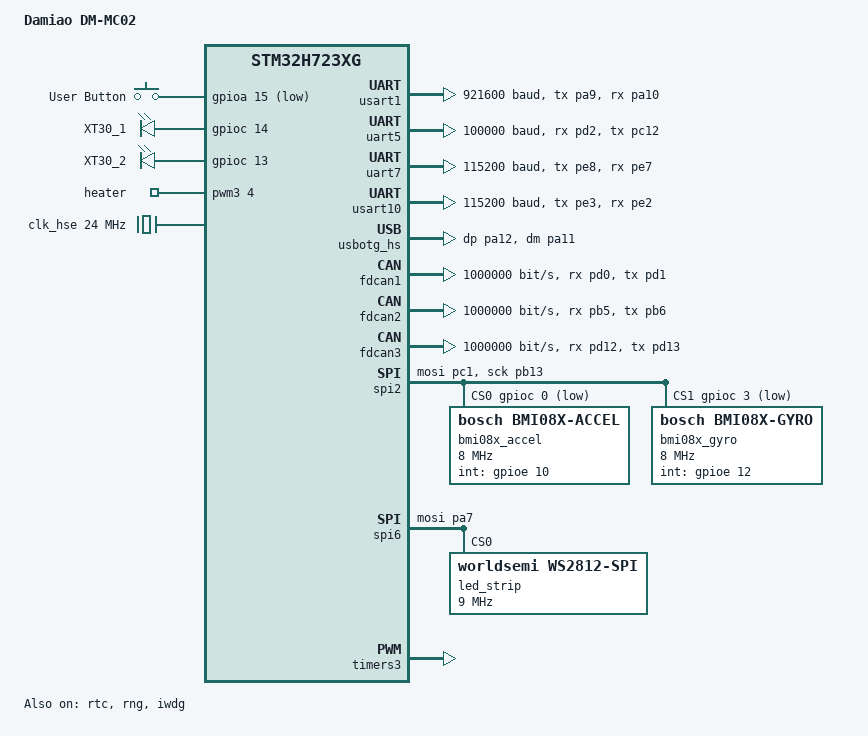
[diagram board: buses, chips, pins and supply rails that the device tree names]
/*
 * Copyright (c) 2025, ttwards <xuwenxi0517@gmail.com>
 *
 * SPDX-License-Identifier: Apache-2.0
 */

/dts-v1/;
#include <st/h7/stm32h723Xg.dtsi>
#include <st/h7/stm32h723vgtx-pinctrl.dtsi>
#include <zephyr/dt-bindings/input/input-event-codes.h>
#include <zephyr/dt-bindings/led/worldsemi_ws2812c.h>
#include <zephyr/dt-bindings/led/led.h>


/ {
	model = "Damiao DM-MC02";
	compatible = "damiao,dm-mc02";

	chosen {
		zephyr,console = &rtt0;
		zephyr,shell-uart = &rtt0;
		zephyr,sram = &sram0;
		zephyr,button = &user_button;
		zephyr,flash = &flash0;
		zephyr,dtcm = &dtcm;
		zephyr,itcm = &itcm;
		ares,pwm = &heater;
		sbus,uart = &uart5;
		ares,usb = &cdc_acm_uart;
	};

	aliases {
		watchdog0 = &iwdg;
		led-strip = &led_strip;
	};


	buttons {
		compatible = "gpio-keys";
		user_button: button_0 {
			gpios = <&gpioa 15 (GPIO_PULL_UP | GPIO_ACTIVE_LOW)>;
			label = "User Button";
			zephyr,code = <INPUT_KEY_0>;
		};
	};
    
	xt30 {
		compatible = "gpio-leds";
		status = "okay";
		power1: power1 {
			gpios = <&gpioc 14 GPIO_ACTIVE_HIGH>;
			label = "XT30_1";
		};
		power2: power2 {
			gpios = <&gpioc 13 GPIO_ACTIVE_HIGH>;
			label = "XT30_2";
		};
	};

	pwmleds: pwmleds {
		compatible = "pwm-leds";
		status = "okay";
		heater: heater {
			pwms = <&pwm3 4 PWM_MSEC(20) PWM_POLARITY_NORMAL>;
		};
	};

	imu_temp_pid: imu_temp_pid {
		#controller-cells = <0>;
		compatible = "pid,single";
		k_p = "50000";
		k_d = "0.02";
		out_max = "1000000.000000";
		offset = "380000.000000";
	};

	dut: rtt0: rtt_chan0 {
		compatible = "segger,rtt-uart";
		status = "okay";
	};
};

&clk_lsi {
	status = "okay";
};

&clk_hsi {
	status = "okay";
	hsi-div = <1>;
};

&clk_csi {
	status = "okay";
};

&clk_hse {
	clock-frequency = <DT_FREQ_M(24)>;
	status = "okay";
};

&clk_hsi48 {
	status = "okay";
};

&pll {
	div-m = <2>;
	mul-n = <40>;
	div-p = <1>;
	div-q = <4>;
	div-r = <2>;
	fracn = <0>;
	clocks = <&clk_hse>;
	status = "okay";
};

&pll2 {
	div-m = <2>;
	mul-n = <16>;
	div-p = <2>;
	div-q = <2>;
	div-r = <2>;
	fracn = <0>;
	clocks = <&clk_hse>;
	status = "okay";
};

&pll3 {
	div-m = <32>;
	mul-n = <129>;
	div-p = <2>;
	div-q = <2>;
	div-r = <2>;
	fracn = <0>;
	clocks = <&clk_hse>;
	status = "okay";
};

&rcc {
	clocks = <&pll>;
	clock-frequency = <DT_FREQ_M(480)>;
	d1cpre = <1>;
	hpre = <2>;    /* HCLK: 275   MHz */
	d1ppre = <2>;  /* APB1: 137.5 MHz	 */
	d2ppre1 = <2>; /* APB2: 137.5 MHz */
	d2ppre2 = <2>; /* APB3: 137.5 MHz */
	d3ppre = <2>;  /* APB4: 137.5 MHz */
	status = "okay";
};

&rtc {
	clocks = <&rcc STM32_CLOCK_BUS_APB1 0x10000000>,
			 <&rcc STM32_SRC_LSI RTC_SEL(2)>;
	status = "okay";
};

&rng {
	status = "okay";
};

&iwdg {
	status = "okay";
};

&dmamux1 {
    status = "okay";
};

&dma1 {
	status = "okay";
};

&dma2 {
	status = "okay";
};

&usart1 {
	pinctrl-0 = <&usart1_tx_pa9 &usart1_rx_pa10>;
	pinctrl-names = "default";
	current-speed = <921600>;
	status = "okay";
	data-bits = <8>;
	stop-bits = "1";
	dmas = <&dmamux1 2 41 STM32_DMA_PERIPH_RX>,
		   <&dmamux1 3 42 STM32_DMA_PERIPH_TX>;
	dma-names = "rx", "tx";
};

&uart5 {
	pinctrl-0 = <&uart5_rx_pd2 &uart5_tx_pc12>;
	pinctrl-names = "default";
	current-speed = <100000>;
	status = "okay";
	data-bits = <8>;
	stop-bits = "2";
	dmas = <&dmamux1 0 65 STM32_DMA_PERIPH_RX
			&dmamux1 1 66 STM32_DMA_PERIPH_TX>;
	dma-names = "rx", "tx";
};

&uart7 {
	pinctrl-0 = <&uart7_tx_pe8 &uart7_rx_pe7>;
	pinctrl-names = "default";
	current-speed = <115200>;
	status = "okay";
};

&usart10 {
	pinctrl-0 = <&usart10_tx_pe3 &usart10_rx_pe2>;
	pinctrl-names = "default";
	current-speed = <115200>;
	status = "okay";
	data-bits = <8>;
	stop-bits = "1";
};

zephyr_udc0: &usbotg_hs {
	pinctrl-0 = <&usb_otg_hs_dp_pa12 &usb_otg_hs_dm_pa11>;
	pinctrl-names = "default";
	status = "okay";

	cdc_acm_uart: cdc_acm_uart {
		compatible = "zephyr,cdc-acm-uart";
	};
};

&fdcan1 {
	status = "okay";
	pinctrl-0 = <&fdcan1_rx_pd0 &fdcan1_tx_pd1>;
	pinctrl-names = "default";
	clocks = <&rcc STM32_CLOCK(APB1_2, 8U)>;
	bitrate = <1000000>;
};

&fdcan2 {
	pinctrl-0 = <&fdcan2_rx_pb5 &fdcan2_tx_pb6>;
	pinctrl-names = "default";
	bitrate = <1000000>;
	clocks = <&rcc STM32_CLOCK(APB1_2, 8U)>;
	status = "okay";
};

&fdcan3 {
	pinctrl-0 = <&fdcan3_rx_pd12 &fdcan3_tx_pd13>;
	pinctrl-names = "default";
	bitrate = <1000000>;
	clocks = <&rcc STM32_CLOCK(APB1_2, 8U)>;
	status = "okay";
};

&spi2 {
	status = "okay";
	cs-gpios = <&gpioc 0 GPIO_ACTIVE_LOW>,
			   <&gpioc 3 GPIO_ACTIVE_LOW>;

	pinctrl-0=<&spi2_mosi_pc1
			   &spi2_miso_pc2_c
			   &spi2_sck_pb13>;

	pinctrl-names="default";

    bmi08x_accel: bmi08x_accel@0 {
        compatible = "bosch,bmi08x-accel";
		status = "okay";
        reg = <0>;
        spi-max-frequency = <8000000>;
        int-gpios = <&gpioe 10 GPIO_ACTIVE_HIGH>;
        accel-hz = "800";
        accel-fs = <12>;
		int1-map-io = <0x01>;
		int2-map-io = <0x02>;
        int1-conf-io = <0x0A>;
		int2-conf-io = <0x0A>;
    };

    bmi08x_gyro: bmi08x_gyro@1{
        compatible = "bosch,bmi08x-gyro";
		status = "okay";
        reg = <1>;
        spi-max-frequency = <8000000>;
        int-gpios = <&gpioe 12 GPIO_ACTIVE_HIGH>;
        gyro-hz = "1000_116";
        gyro-fs = <1000>;
		int3-4-map-io = <0x01>;
		int3-4-conf-io = <0x01>;
    };
};

&spi6 {
	status = "okay";
	pinctrl-0=<&spi6_mosi_pa7>;
	pinctrl-names="default";
	dmas = <&dmamux2 0 11 STM32_DMA_PERIPH_RX
			&dmamux2 1 12 STM32_DMA_PERIPH_TX>;
	dma-names = "rx", "tx";
	led_strip: ws2812@0 {
		compatible = "worldsemi,ws2812-spi";
		reg = <0>;
		spi-max-frequency = <9000000>;

		chain-length = <1>;
		color-mapping =	<LED_COLOR_ID_GREEN>,
			<LED_COLOR_ID_RED>,
			<LED_COLOR_ID_BLUE>;
		spi-one-frame = <0XF8>;
		spi-zero-frame = <0XE0>;

		reset-delay = <250>;
	};
};

&timers3 {
	status = "okay";
	st,prescaler = <10000>;
	pwm3: pwm {
		status = "okay";
		pinctrl-0 = <&tim3_ch4_pb1>;
		pinctrl-names = "default";
	};
};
